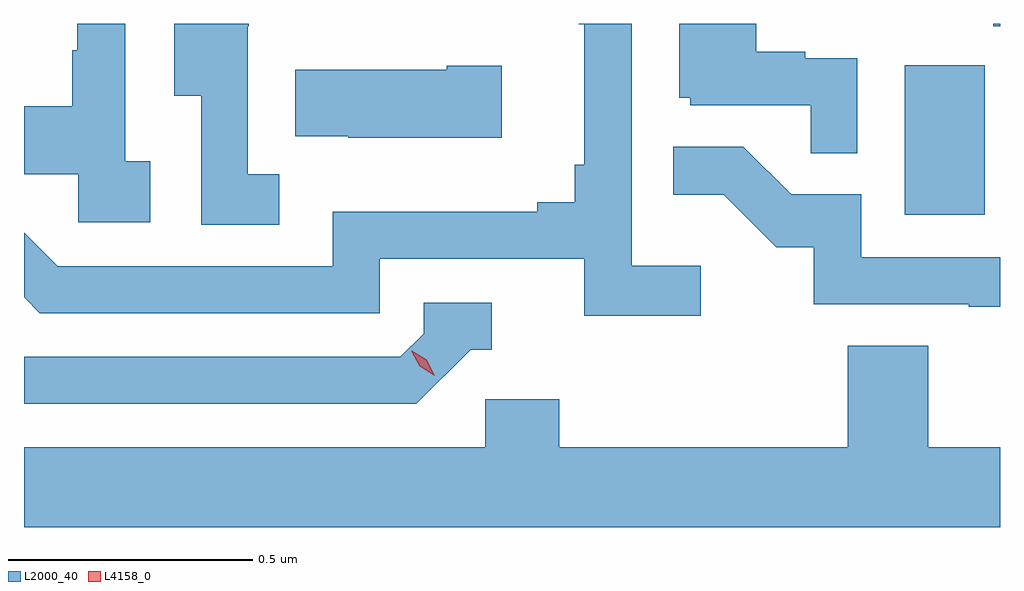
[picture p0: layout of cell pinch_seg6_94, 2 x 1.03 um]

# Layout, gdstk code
import gdstk
lib = gdstk.Library(unit=1e-6, precision=1e-09)
def R(c, l, rs):  # rectangles x0, y0, x1, y1
    for r in rs: c.add(gdstk.rectangle(r[:2], r[2:], *l))
def P(c, l, *ps):  # polygons
    for p in ps: c.add(gdstk.Polygon(p, *l))
L2000_40 = (2000, 40)
L4158_0 = (4158, 0)

pinch_seg6_94 = lib.new_cell('pinch_seg6_94')
R(pinch_seg6_94, L2000_40, [(925.268,922.668,925.432,922.975), (925.449,923.055,925.463,923.06)])
P(pinch_seg6_94, L2000_40, [(923.986,922.751),(923.922,922.751),(923.922,923.055),(923.924,923.055),(923.924,923.06),(923.771,923.06),(923.771,922.912),(923.826,922.912),(923.826,922.648),(923.986,922.648)],
  [(923.722,922.778),(923.67,922.778),(923.67,923.06),(923.572,923.06),(923.572,923.006),(923.562,923.006),(923.562,922.891),(923.463,922.891),(923.463,922.751),(923.574,922.751),(923.574,922.653),(923.722,922.653)],
  [(924.85,922.564),(924.708,922.564),(924.708,923.06),(924.6,923.06),(924.6,923.059),(924.611,923.059),(924.611,922.771),(924.592,922.771),(924.592,922.694),(924.515,922.694),(924.515,922.675),(924.096,922.675),(924.096,922.563),(923.532,922.563),(923.463,922.632),(923.463,922.499),(923.495,922.467),(924.192,922.467),(924.192,922.578),(924.611,922.578),(924.611,922.462),(924.85,922.462)],
  [(925.17,922.989),(925.064,922.989),(925.064,923.002),(924.964,923.002),(924.964,923.06),(924.806,923.06),(924.806,922.908),(924.828,922.908),(924.828,922.893),(925.075,922.893),(925.075,922.795),(925.17,922.795)],
  [(924.442,922.974),(924.329,922.974),(924.329,922.966),(924.019,922.966),(924.019,922.829),(924.127,922.829),(924.127,922.826),(924.442,922.826)],
  [(925.463,922.581),(925.179,922.581),(925.179,922.71),(925.035,922.71),(924.937,922.808),(924.793,922.808),(924.793,922.709),(924.897,922.709),(925.004,922.602),(925.081,922.602),(925.081,922.485),(925.399,922.485),(925.399,922.48),(925.463,922.48)],
  [(924.378,922.392),(924.421,922.392),(924.421,922.488),(924.282,922.488),(924.282,922.425),(924.234,922.377),(923.463,922.377),(923.463,922.281),(924.267,922.281)],
  [(925.463,922.192),(925.316,922.192),(925.316,922.4),(925.151,922.4),(925.151,922.192),(924.56,922.192),(924.56,922.29),(924.408,922.29),(924.408,922.192),(923.463,922.192),(923.463,922.028),(925.463,922.028)])
P(pinch_seg6_94, L4158_0, [(924.305,922.339),(924.274,922.358),(924.257,922.39),(924.257,922.39),(924.258,922.39),(924.288,922.371),(924.305,922.339),(924.305,922.339)])

lib.write_gds('pinch_seg6_94.gds')
